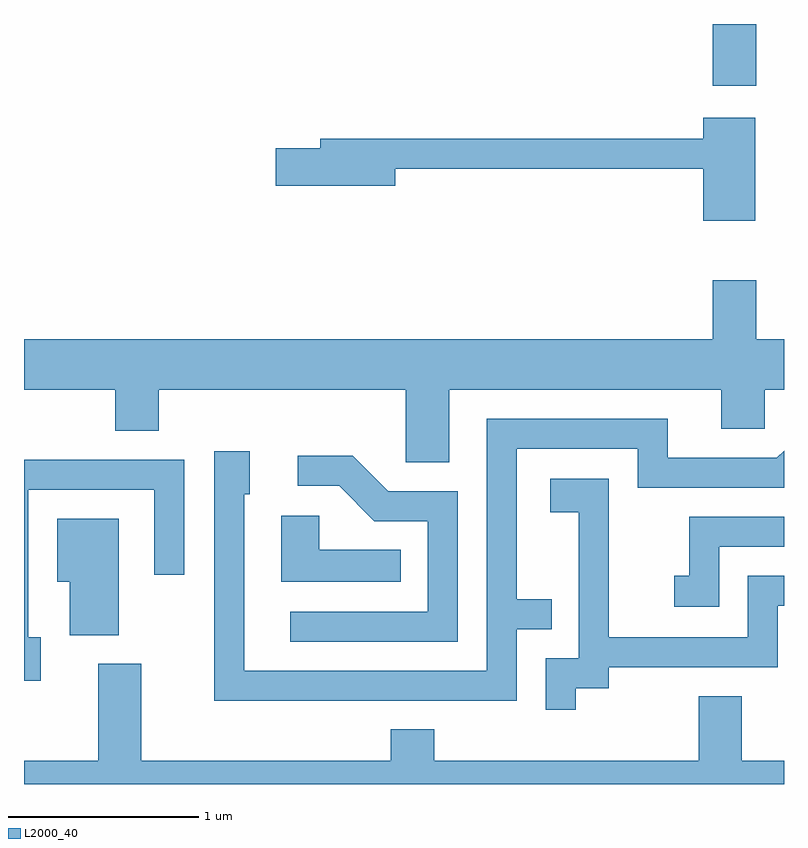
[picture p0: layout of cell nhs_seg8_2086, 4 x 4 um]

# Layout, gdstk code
import gdstk
lib = gdstk.Library(unit=1e-6, precision=1e-09)
def R(c, l, rs):  # rectangles x0, y0, x1, y1
    for r in rs: c.add(gdstk.rectangle(r[:2], r[2:], *l))
def P(c, l, *ps):  # polygons
    for p in ps: c.add(gdstk.Polygon(p, *l))
L2000_40 = (2000, 40)

nhs_seg8_2086 = lib.new_cell('nhs_seg8_2086')
R(nhs_seg8_2086, L2000_40, [(251.236,1838.016,251.464,1838.342)])
P(nhs_seg8_2086, L2000_40, [(251.459,1837.849),(251.186,1837.849),(251.186,1837.739),(249.171,1837.739),(249.171,1837.689),(248.936,1837.689),(248.936,1837.491),(249.564,1837.491),(249.564,1837.581),(251.186,1837.581),(251.186,1837.306),(251.459,1837.306)],
  [(249.849,1836.416),(251.281,1836.416),(251.281,1836.211),(251.509,1836.211),(251.509,1836.416),(251.611,1836.416),(251.611,1836.684),(251.464,1836.684),(251.464,1836.994),(251.236,1836.994),(251.236,1836.684),(247.611,1836.684),(247.611,1836.416),(248.091,1836.416),(248.091,1836.201),(248.319,1836.201),(248.319,1836.416),(249.621,1836.416),(249.621,1836.036),(249.849,1836.036)],
  [(250.204,1835.156),(250.388,1835.156),(250.388,1835.314),(250.204,1835.314),(250.204,1836.106),(250.841,1836.106),(250.841,1835.901),(251.611,1835.901),(251.611,1836.096),(251.574,1836.059),(250.999,1836.059),(250.999,1836.264),(250.046,1836.264),(250.046,1834.939),(248.769,1834.939),(248.769,1835.866),(248.799,1835.866),(248.799,1836.094),(248.611,1836.094),(248.611,1834.781),(250.204,1834.781)],
  [(249.894,1835.884),(249.527,1835.884),(249.342,1836.069),(249.053,1836.069),(249.053,1835.911),(249.269,1835.911),(249.454,1835.726),(249.736,1835.726),(249.736,1835.249),(249.013,1835.249),(249.013,1835.091),(249.894,1835.091)],
  [(247.699,1835.114),(247.634,1835.114),(247.634,1835.891),(248.296,1835.891),(248.296,1835.443),(248.454,1835.443),(248.454,1836.049),(247.611,1836.049),(247.611,1834.886),(247.699,1834.886)],
  [(250.514,1834.846),(250.689,1834.846),(250.689,1834.956),(251.579,1834.956),(251.579,1835.281),(251.611,1835.281),(251.611,1835.439),(251.421,1835.439),(251.421,1835.114),(250.689,1835.114),(250.689,1835.949),(250.381,1835.949),(250.381,1835.771),(250.531,1835.771),(250.531,1835.004),(250.356,1835.004),(250.356,1834.733),(250.514,1834.733)],
  [(249.593,1835.574),(249.164,1835.574),(249.164,1835.754),(248.966,1835.754),(248.966,1835.406),(249.593,1835.406)],
  [(251.269,1835.591),(251.611,1835.591),(251.611,1835.749),(251.111,1835.749),(251.111,1835.439),(251.033,1835.439),(251.033,1835.276),(251.269,1835.276)],
  [(248.109,1835.739),(247.786,1835.739),(247.786,1835.406),(247.851,1835.406),(247.851,1835.126),(248.109,1835.126)],
  [(251.611,1834.464),(251.389,1834.464),(251.389,1834.804),(251.161,1834.804),(251.161,1834.464),(249.769,1834.464),(249.769,1834.629),(249.541,1834.629),(249.541,1834.464),(248.229,1834.464),(248.229,1834.974),(248.001,1834.974),(248.001,1834.464),(247.611,1834.464),(247.611,1834.342),(251.611,1834.342)])

lib.write_gds('nhs_seg8_2086.gds')
